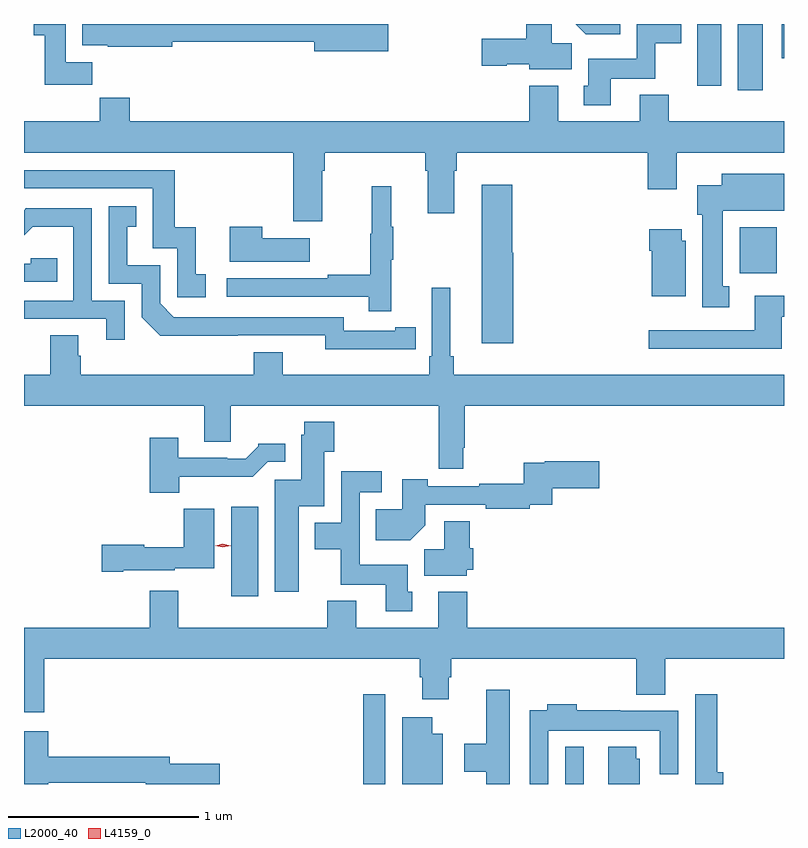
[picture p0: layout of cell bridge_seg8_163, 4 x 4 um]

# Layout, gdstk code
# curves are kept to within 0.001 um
import gdstk
lib = gdstk.Library(unit=1e-6, precision=1e-09)
def R(c, l, rs):  # rectangles x0, y0, x1, y1
    for r in rs: c.add(gdstk.rectangle(r[:2], r[2:], *l))
def P(c, l, *ps):  # polygons
    for p in ps: c.add(gdstk.Polygon(p, *l))
L2000_40 = (2000, 40)
L4159_0 = (4159, 0)

bridge_seg8_163 = lib.new_cell('bridge_seg8_163')
R(bridge_seg8_163, L2000_40, [(515.917,1106.517,516.033,1106.989), (516.981,1106.517,517.078,1106.713), (515.222,1107.504,515.365,1107.976), (517.898,1109.204,518.095,1109.446), (517.889,1110.168,518.02,1110.517), (517.676,1110.192,517.801,1110.517), (518.12,1110.338,518.132,1110.517)])
P(bridge_seg8_163, L2000_40, [(514.49,1110.316),(514.351,1110.316),(514.351,1110.517),(514.184,1110.517),(514.184,1110.457),(514.241,1110.457),(514.241,1110.198),(514.49,1110.198)],
  [(516.049,1110.515),(515.788,1110.515),(515.788,1110.517),(514.439,1110.517),(514.439,1110.404),(514.572,1110.404),(514.572,1110.398),(514.912,1110.398),(514.912,1110.423),(515.66,1110.423),(515.66,1110.373),(516.049,1110.373)],
  [(517.219,1110.23),(517.455,1110.23),(517.455,1110.416),(517.591,1110.416),(517.591,1110.517),(517.356,1110.517),(517.356,1110.334),(517.103,1110.334),(517.103,1110.192),(517.079,1110.192),(517.079,1110.09),(517.219,1110.09)],
  [(517.271,1110.517),(517.035,1110.517),(517.088,1110.464),(517.271,1110.464)],
  [(517.015,1110.416),(516.91,1110.416),(516.91,1110.517),(516.776,1110.517),(516.776,1110.44),(516.54,1110.44),(516.54,1110.298),(516.672,1110.298),(516.672,1110.305),(516.792,1110.305),(516.792,1110.278),(517.015,1110.278)],
  [(515.701,1109.744),(515.714,1109.744),(515.714,1109.84),(516.245,1109.84),(516.245,1109.744),(516.257,1109.744),(516.257,1109.52),(516.397,1109.52),(516.397,1109.744),(516.41,1109.744),(516.41,1109.84),(517.415,1109.84),(517.415,1109.646),(517.567,1109.646),(517.567,1109.84),(518.132,1109.84),(518.132,1110.004),(517.526,1110.004),(517.526,1110.145),(517.373,1110.145),(517.373,1110.004),(516.943,1110.004),(516.943,1110.193),(516.791,1110.193),(516.791,1110.004),(514.688,1110.004),(514.688,1110.128),(514.531,1110.128),(514.531,1110.004),(514.132,1110.004),(514.132,1109.84),(515.549,1109.84),(515.549,1109.478),(515.701,1109.478)],
  [(515.089,1109.199),(515.036,1109.199),(515.036,1109.446),(514.925,1109.446),(514.925,1109.748),(514.132,1109.748),(514.132,1109.652),(514.809,1109.652),(514.809,1109.337),(514.938,1109.337),(514.938,1109.079),(515.089,1109.079)],
  [(517.843,1109.138),(517.81,1109.138),(517.81,1109.534),(518.132,1109.534),(518.132,1109.728),(517.805,1109.728),(517.805,1109.668),(517.676,1109.668),(517.676,1109.514),(517.703,1109.514),(517.703,1109.025),(517.843,1109.025)],
  [(516.706,1109.313),(516.701,1109.313),(516.701,1109.671),(516.542,1109.671),(516.542,1108.836),(516.706,1108.836)],
  [(516.065,1109.275),(516.076,1109.275),(516.076,1109.449),(516.065,1109.449),(516.065,1109.662),(515.962,1109.662),(515.962,1109.412),(515.955,1109.412),(515.955,1109.198),(515.731,1109.198),(515.731,1109.178),(515.199,1109.178),(515.199,1109.082),(515.947,1109.082),(515.947,1109.004),(516.065,1109.004)],
  [(516.086,1108.806),(516.194,1108.806),(516.194,1108.922),(516.086,1108.922),(516.086,1108.902),(515.814,1108.902),(515.814,1108.974),(514.92,1108.974),(514.848,1109.046),(514.848,1109.247),(514.675,1109.247),(514.675,1109.451),(514.724,1109.451),(514.724,1109.557),(514.578,1109.557),(514.578,1109.151),(514.752,1109.151),(514.752,1108.974),(514.85,1108.877),(515.718,1108.878),(515.718,1108.805)],
  [(514.662,1109.061),(514.488,1109.061),(514.488,1109.547),(514.142,1109.547),(514.132,1109.537),(514.132,1109.404),(514.178,1109.45),(514.392,1109.45),(514.392,1109.061),(514.132,1109.061),(514.132,1108.965),(514.565,1108.965),(514.565,1108.854),(514.662,1108.854)],
  [(515.635,1109.389),(515.387,1109.389),(515.387,1109.449),(515.216,1109.449),(515.216,1109.267),(515.635,1109.267)],
  [(517.615,1109.376),(517.594,1109.376),(517.594,1109.437),(517.424,1109.437),(517.424,1109.324),(517.436,1109.324),(517.436,1109.084),(517.615,1109.084)],
  [(514.307,1109.283),(514.167,1109.283),(514.167,1109.256),(514.132,1109.256),(514.132,1109.16),(514.307,1109.16)],
  [(516.445,1108.288),(516.452,1108.288),(516.452,1108.508),(518.132,1108.508),(518.132,1108.672),(516.395,1108.672),(516.395,1108.768),(516.376,1108.768),(516.376,1109.128),(516.279,1109.128),(516.279,1108.768),(516.266,1108.768),(516.266,1108.672),(515.494,1108.672),(515.494,1108.789),(515.342,1108.789),(515.342,1108.672),(514.43,1108.672),(514.43,1108.77),(514.417,1108.77),(514.417,1108.88),(514.27,1108.88),(514.27,1108.672),(514.132,1108.672),(514.132,1108.508),(515.081,1108.508),(515.081,1108.318),(515.221,1108.318),(515.221,1108.508),(516.316,1108.508),(516.316,1108.176),(516.445,1108.176)],
  [(518.119,1108.977),(518.132,1108.977),(518.132,1109.086),(517.979,1109.086),(517.979,1108.905),(517.419,1108.905),(517.419,1108.808),(518.119,1108.808)],
  [(515.578,1107.98),(515.713,1107.98),(515.713,1108.267),(515.765,1108.267),(515.765,1108.423),(515.608,1108.423),(515.608,1108.356),(515.591,1108.356),(515.591,1108.119),(515.453,1108.119),(515.453,1107.528),(515.578,1107.528)],
  [(514.948,1108.134),(515.337,1108.134),(515.415,1108.212),(515.506,1108.212),(515.506,1108.309),(515.364,1108.309),(515.364,1108.294),(515.3,1108.23),(515.201,1108.23),(515.201,1108.233),(514.945,1108.233),(514.945,1108.339),(514.793,1108.339),(514.793,1108.049),(514.948,1108.049)],
  [(516.244,1107.878),(516.244,1107.987),(516.562,1107.987),(516.562,1107.967),(516.794,1107.967),(516.794,1107.987),(516.911,1107.987),(516.911,1108.073),(517.159,1108.073),(517.159,1108.215),(516.874,1108.215),(516.874,1108.207),(516.763,1108.207),(516.763,1108.096),(516.529,1108.096),(516.529,1108.083),(516.256,1108.083),(516.256,1108.121),(516.122,1108.121),(516.122,1107.964),(515.983,1107.964),(515.983,1107.8),(516.166,1107.8)],
  [(516.175,1107.528),(516.151,1107.528),(516.151,1107.67),(515.898,1107.67),(515.898,1108.053),(516.016,1108.053),(516.016,1108.162),(515.802,1108.162),(515.802,1107.892),(515.663,1107.892),(515.663,1107.752),(515.8,1107.752),(515.8,1107.566),(516.035,1107.566),(516.035,1107.426),(516.175,1107.426)],
  [(514.654,1107.641),(514.926,1107.641),(514.926,1107.653),(515.134,1107.653),(515.134,1107.967),(514.972,1107.967),(514.972,1107.763),(514.764,1107.763),(514.764,1107.776),(514.542,1107.776),(514.542,1107.634),(514.654,1107.634)],
  [(516.462,1107.645),(516.496,1107.645),(516.496,1107.759),(516.479,1107.759),(516.479,1107.901),(516.344,1107.901),(516.344,1107.752),(516.239,1107.752),(516.239,1107.614),(516.462,1107.614)],
  [(514.238,1107.176),(516.215,1107.176),(516.215,1107.078),(516.227,1107.078),(516.227,1106.964),(516.367,1106.964),(516.367,1107.078),(516.38,1107.078),(516.38,1107.176),(517.355,1107.176),(517.355,1106.987),(517.507,1106.987),(517.507,1107.176),(518.132,1107.176),(518.132,1107.34),(516.464,1107.34),(516.464,1107.529),(516.311,1107.529),(516.311,1107.34),(515.881,1107.34),(515.881,1107.481),(515.729,1107.481),(515.729,1107.34),(514.945,1107.34),(514.945,1107.535),(514.793,1107.535),(514.793,1107.34),(514.132,1107.34),(514.132,1106.895),(514.238,1106.895)],
  [(516.688,1107.013),(516.566,1107.013),(516.566,1106.73),(516.449,1106.73),(516.449,1106.582),(516.566,1106.582),(516.566,1106.517),(516.688,1106.517)],
  [(517.811,1106.578),(517.781,1106.578),(517.781,1106.989),(517.665,1106.989),(517.665,1106.517),(517.811,1106.517)],
  [(516.891,1106.798),(517.479,1106.798),(517.479,1106.568),(517.575,1106.568),(517.575,1106.902),(517.271,1106.902),(517.271,1106.905),(517.04,1106.905),(517.04,1106.938),(516.887,1106.938),(516.887,1106.905),(516.795,1106.905),(516.795,1106.517),(516.891,1106.517)],
  [(516.337,1106.782),(516.28,1106.782),(516.28,1106.869),(516.122,1106.869),(516.122,1106.517),(516.337,1106.517)],
  [(514.259,1106.524),(514.772,1106.524),(514.772,1106.517),(515.161,1106.517),(515.161,1106.624),(514.9,1106.624),(514.9,1106.66),(514.259,1106.66),(514.259,1106.794),(514.132,1106.794),(514.132,1106.517),(514.259,1106.517)],
  [(517.372,1106.649),(517.354,1106.649),(517.354,1106.713),(517.208,1106.713),(517.208,1106.517),(517.372,1106.517)])
P(bridge_seg8_163, L4159_0, [(515.178,1107.762),(515.138,1107.772),(515.137,1107.772),(515.138,1107.772),(515.178,1107.782),(515.22,1107.772),(515.22,1107.772),(515.22,1107.772)])

lib.write_gds('bridge_seg8_163.gds')
